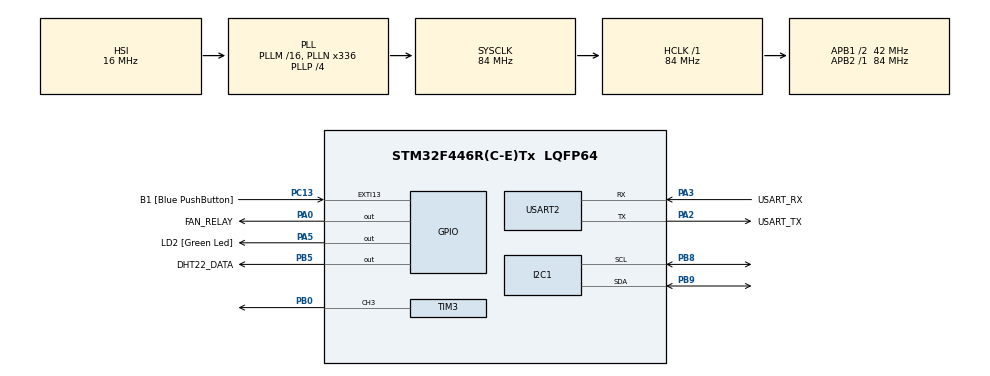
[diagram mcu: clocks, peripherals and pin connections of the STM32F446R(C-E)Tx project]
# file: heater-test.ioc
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Mcu.Family=STM32F4
Mcu.Name=STM32F446R(C-E)Tx
Mcu.Package=LQFP64
NVIC.PriorityGroup=NVIC_PRIORITYGROUP_0
PA0-WKUP.GPIO_Label=FAN_RELAY
PA0-WKUP.Signal=GPIO_Output
PA13.GPIO_Label=TMS
PA13.Mode=Serial_Wire
PA13.Signal=SYS_JTMS-SWDIO
PA14.GPIO_Label=TCK
PA14.Mode=Serial_Wire
PA14.Signal=SYS_JTCK-SWCLK
PA2.GPIO_Label=USART_TX
PA2.Mode=Asynchronous
PA2.Signal=USART2_TX
PA3.GPIO_Label=USART_RX
PA3.Mode=Asynchronous
PA3.Signal=USART2_RX
PA5.GPIO_Label=LD2 [Green Led]
PA5.Signal=GPIO_Output
PB0.Signal=S_TIM3_CH3
PB3.GPIO_Label=SWO
PB3.Signal=SYS_JTDO-SWO
PB5.GPIO_Label=DHT22_DATA
PB5.Signal=GPIO_Output
PB8.Mode=I2C
PB8.Signal=I2C1_SCL
PB9.Mode=I2C
PB9.Signal=I2C1_SDA
PC13.GPIO_Label=B1 [Blue PushButton]
PC13.GPIO_ModeDefaultEXTI=GPIO_MODE_IT_FALLING
PC13.Signal=GPXTI13
PC14-OSC32_IN.Mode=LSE-External-Oscillator
PC14-OSC32_IN.Signal=RCC_OSC32_IN
PC15-OSC32_OUT.Mode=LSE-External-Oscillator
PC15-OSC32_OUT.Signal=RCC_OSC32_OUT
PH0-OSC_IN.Mode=HSE-External-Oscillator
PH0-OSC_IN.Signal=RCC_OSC_IN
PH1-OSC_OUT.Mode=HSE-External-Oscillator
PH1-OSC_OUT.Signal=RCC_OSC_OUT
ProjectManager.HeapSize=0x200
ProjectManager.StackSize=0x400
ProjectManager.TargetToolchain=STM32CubeIDE
RCC.48MHZClocksFreq_Value=84000000
RCC.AHBFreq_Value=84000000
RCC.APB1CLKDivider=RCC_HCLK_DIV2
RCC.APB1Freq_Value=42000000
RCC.APB1TimFreq_Value=84000000
RCC.APB2Freq_Value=84000000
RCC.APB2TimFreq_Value=84000000
RCC.CortexFreq_Value=84000000
RCC.FLatency-AdvancedSettings=FLASH_LATENCY_2
RCC.HCLKFreq_Value=84000000
RCC.HSE_VALUE=8000000
RCC.HSI_VALUE=16000000
RCC.PLLN=336
RCC.PLLP=RCC_PLLP_DIV4
RCC.SYSCLKFreq_VALUE=84000000
RCC.SYSCLKSource=RCC_SYSCLKSOURCE_PLLCLK
RCC.USBFreq_Value=168000000
RCC.VCOOutputFreq_Value=336000000
SH.S_TIM3_CH3.0=TIM3_CH3,PWM Generation3 CH3
TIM3.Channel-PWM\ Generation3\ CH3=TIM_CHANNEL_3
TIM3.Period=999
TIM3.Prescaler=83
USART2.VirtualMode=VM_ASYNC
board=NUCLEO-F446RE

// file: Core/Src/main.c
/* USER CODE BEGIN Header */
/**
  ******************************************************************************
  * @file           : main.c
  * @brief          : Main program body
  ******************************************************************************
  * @attention
  *
  * Copyright (c) 2026 STMicroelectronics.
  * All rights reserved.
  *
  * This software is licensed under terms that can be found in the LICENSE file
  * in the root directory of this software component.
  * If no LICENSE file comes with this software, it is provided AS-IS.
  *
  ******************************************************************************
  */
/* USER CODE END Header */
#include "main.h"

/* USER CODE BEGIN Includes */
#include <stdio.h>
#include <string.h>
#include "dht22.h"
/* USER CODE END Includes */

I2C_HandleTypeDef hi2c1;

TIM_HandleTypeDef htim3;

UART_HandleTypeDef huart2;

void SystemClock_Config(void);
static void MX_GPIO_Init(void);
static void MX_USART2_UART_Init(void);
static void MX_I2C1_Init(void);
static void MX_TIM3_Init(void);

int main(void)
{

  /* MCU Configuration--------------------------------------------------------*/

  /* Reset of all peripherals, Initializes the Flash interface and the Systick. */
  HAL_Init();

  /* Configure the system clock */
  SystemClock_Config();

  /* Initialize all configured peripherals */
  MX_GPIO_Init();
  MX_USART2_UART_Init();
  MX_I2C1_Init();
  MX_TIM3_Init();
  /* USER CODE BEGIN 2 */
  DHT22_Init();
  HAL_Delay(3000);

  /* 초기 상태: 히터 OFF, 팬 OFF */
  uint8_t duty = 20;
  HAL_GPIO_WritePin(FAN_RELAY_GPIO_Port, FAN_RELAY_Pin, GPIO_PIN_RESET);

  char init_buf[64];
  snprintf(init_buf, sizeof(init_buf), "[S4] Start: heater duty=%d%% fan=OFF\r\n", duty);
  HAL_UART_Transmit(&huart2, (uint8_t *)init_buf, strlen(init_buf), 100);
  /* USER CODE END 2 */

  /* Infinite loop */
  /* USER CODE BEGIN WHILE */
  while (1)
  {
    /* 히터 ON + 팬 ON */
    __HAL_TIM_SET_COMPARE(&htim3, TIM_CHANNEL_3, duty * 10);
    HAL_TIM_PWM_Start(&htim3, TIM_CHANNEL_3);
    HAL_GPIO_WritePin(FAN_RELAY_GPIO_Port, FAN_RELAY_Pin, GPIO_PIN_SET);
    HAL_GPIO_WritePin(LD2_GPIO_Port, LD2_Pin, GPIO_PIN_SET);

    char buf[64];
    snprintf(buf, sizeof(buf), "[S4] Heater ON  duty=%d%%  Fan ON\r\n", duty);
    HAL_UART_Transmit(&huart2, (uint8_t *)buf, strlen(buf), 100);
    HAL_Delay(3000);

    /* 히터 OFF + 팬 OFF */
    HAL_TIM_PWM_Stop(&htim3, TIM_CHANNEL_3);
    HAL_GPIO_WritePin(FAN_RELAY_GPIO_Port, FAN_RELAY_Pin, GPIO_PIN_RESET);
    HAL_GPIO_WritePin(LD2_GPIO_Port, LD2_Pin, GPIO_PIN_RESET);

    snprintf(buf, sizeof(buf), "[S4] Heater OFF         Fan OFF\r\n");
    HAL_UART_Transmit(&huart2, (uint8_t *)buf, strlen(buf), 100);

    /* DHT22 측정 (OFF 구간에서 읽기, 센서 최소 2초 간격) */
    HAL_Delay(2000);
    DHT22_Data dht = {0};
    if (DHT22_Read(&dht) == DHT22_OK) {
        int t = (int)(dht.temperature * 10.0f);
        int h = (int)(dht.humidity * 10.0f);
        snprintf(buf, sizeof(buf), "[DHT22] %d.%dC  %d.%d%%RH\r\n",
                 t / 10, t % 10, h / 10, h % 10);
    } else {
        snprintf(buf, sizeof(buf), "[DHT22] ERROR\r\n");
    }
    HAL_UART_Transmit(&huart2, (uint8_t *)buf, strlen(buf), 100);
    HAL_Delay(1000);
    /* USER CODE END WHILE */

  }
}

void SystemClock_Config(void)
{
  RCC_OscInitTypeDef RCC_OscInitStruct = {0};
  RCC_ClkInitTypeDef RCC_ClkInitStruct = {0};

  /** Configure the main internal regulator output voltage
  */
  __HAL_RCC_PWR_CLK_ENABLE();
  __HAL_PWR_VOLTAGESCALING_CONFIG(PWR_REGULATOR_VOLTAGE_SCALE3);

  /** Initializes the RCC Oscillators according to the specified parameters
  * in the RCC_OscInitTypeDef structure.
  */
  RCC_OscInitStruct.OscillatorType = RCC_OSCILLATORTYPE_HSI;
  RCC_OscInitStruct.HSIState = RCC_HSI_ON;
  RCC_OscInitStruct.HSICalibrationValue = RCC_HSICALIBRATION_DEFAULT;
  RCC_OscInitStruct.PLL.PLLState = RCC_PLL_ON;
  RCC_OscInitStruct.PLL.PLLSource = RCC_PLLSOURCE_HSI;
  RCC_OscInitStruct.PLL.PLLM = 16;
  RCC_OscInitStruct.PLL.PLLN = 336;
  RCC_OscInitStruct.PLL.PLLP = RCC_PLLP_DIV4;
  RCC_OscInitStruct.PLL.PLLQ = 2;
  RCC_OscInitStruct.PLL.PLLR = 2;
  if (HAL_RCC_OscConfig(&RCC_OscInitStruct) != HAL_OK)
  {
    Error_Handler();
  }

  /** Initializes the CPU, AHB and APB buses clocks
  */
  RCC_ClkInitStruct.ClockType = RCC_CLOCKTYPE_HCLK|RCC_CLOCKTYPE_SYSCLK
                              |RCC_CLOCKTYPE_PCLK1|RCC_CLOCKTYPE_PCLK2;
  RCC_ClkInitStruct.SYSCLKSource = RCC_SYSCLKSOURCE_PLLCLK;
  RCC_ClkInitStruct.AHBCLKDivider = RCC_SYSCLK_DIV1;
  RCC_ClkInitStruct.APB1CLKDivider = RCC_HCLK_DIV2;
  RCC_ClkInitStruct.APB2CLKDivider = RCC_HCLK_DIV1;

  if (HAL_RCC_ClockConfig(&RCC_ClkInitStruct, FLASH_LATENCY_2) != HAL_OK)
  {
    Error_Handler();
  }
}

static void MX_I2C1_Init(void)
{

  hi2c1.Instance = I2C1;
  hi2c1.Init.ClockSpeed = 100000;
  hi2c1.Init.DutyCycle = I2C_DUTYCYCLE_2;
  hi2c1.Init.OwnAddress1 = 0;
  hi2c1.Init.AddressingMode = I2C_ADDRESSINGMODE_7BIT;
  hi2c1.Init.DualAddressMode = I2C_DUALADDRESS_DISABLE;
  hi2c1.Init.OwnAddress2 = 0;
  hi2c1.Init.GeneralCallMode = I2C_GENERALCALL_DISABLE;
  hi2c1.Init.NoStretchMode = I2C_NOSTRETCH_DISABLE;
  if (HAL_I2C_Init(&hi2c1) != HAL_OK)
  {
    Error_Handler();
  }

}

static void MX_TIM3_Init(void)
{

  TIM_MasterConfigTypeDef sMasterConfig = {0};
  TIM_OC_InitTypeDef sConfigOC = {0};

  htim3.Instance = TIM3;
  htim3.Init.Prescaler = 83;
  htim3.Init.CounterMode = TIM_COUNTERMODE_UP;
  htim3.Init.Period = 999;
  htim3.Init.ClockDivision = TIM_CLOCKDIVISION_DIV1;
  htim3.Init.AutoReloadPreload = TIM_AUTORELOAD_PRELOAD_DISABLE;
  if (HAL_TIM_PWM_Init(&htim3) != HAL_OK)
  {
    Error_Handler();
  }
  sMasterConfig.MasterOutputTrigger = TIM_TRGO_RESET;
  sMasterConfig.MasterSlaveMode = TIM_MASTERSLAVEMODE_DISABLE;
  if (HAL_TIMEx_MasterConfigSynchronization(&htim3, &sMasterConfig) != HAL_OK)
  {
    Error_Handler();
  }
  sConfigOC.OCMode = TIM_OCMODE_PWM1;
  sConfigOC.Pulse = 0;
  sConfigOC.OCPolarity = TIM_OCPOLARITY_HIGH;
  sConfigOC.OCFastMode = TIM_OCFAST_DISABLE;
  if (HAL_TIM_PWM_ConfigChannel(&htim3, &sConfigOC, TIM_CHANNEL_3) != HAL_OK)
  {
    Error_Handler();
  }
  HAL_TIM_MspPostInit(&htim3);

}

static void MX_USART2_UART_Init(void)
{

  huart2.Instance = USART2;
  huart2.Init.BaudRate = 115200;
  huart2.Init.WordLength = UART_WORDLENGTH_8B;
  huart2.Init.StopBits = UART_STOPBITS_1;
  huart2.Init.Parity = UART_PARITY_NONE;
  huart2.Init.Mode = UART_MODE_TX_RX;
  huart2.Init.HwFlowCtl = UART_HWCONTROL_NONE;
  huart2.Init.OverSampling = UART_OVERSAMPLING_16;
  if (HAL_UART_Init(&huart2) != HAL_OK)
  {
    Error_Handler();
  }

}

static void MX_GPIO_Init(void)
{
  GPIO_InitTypeDef GPIO_InitStruct = {0};

  /* GPIO Ports Clock Enable */
  __HAL_RCC_GPIOC_CLK_ENABLE();
  __HAL_RCC_GPIOH_CLK_ENABLE();
  __HAL_RCC_GPIOA_CLK_ENABLE();
  __HAL_RCC_GPIOB_CLK_ENABLE();

  /*Configure GPIO pin Output Level */
  HAL_GPIO_WritePin(GPIOA, FAN_RELAY_Pin|LD2_Pin, GPIO_PIN_RESET);

  /*Configure GPIO pin Output Level */
  HAL_GPIO_WritePin(DHT22_DATA_GPIO_Port, DHT22_DATA_Pin, GPIO_PIN_RESET);

  /*Configure GPIO pin : B1_Pin */
  GPIO_InitStruct.Pin = B1_Pin;
  GPIO_InitStruct.Mode = GPIO_MODE_IT_FALLING;
  GPIO_InitStruct.Pull = GPIO_NOPULL;
  HAL_GPIO_Init(B1_GPIO_Port, &GPIO_InitStruct);

  /*Configure GPIO pins : FAN_RELAY_Pin LD2_Pin */
  GPIO_InitStruct.Pin = FAN_RELAY_Pin|LD2_Pin;
  GPIO_InitStruct.Mode = GPIO_MODE_OUTPUT_PP;
  GPIO_InitStruct.Pull = GPIO_NOPULL;
  GPIO_InitStruct.Speed = GPIO_SPEED_FREQ_LOW;
  HAL_GPIO_Init(GPIOA, &GPIO_InitStruct);

  /*Configure GPIO pin : DHT22_DATA_Pin */
  GPIO_InitStruct.Pin = DHT22_DATA_Pin;
  GPIO_InitStruct.Mode = GPIO_MODE_OUTPUT_PP;
  GPIO_InitStruct.Pull = GPIO_NOPULL;
  GPIO_InitStruct.Speed = GPIO_SPEED_FREQ_LOW;
  HAL_GPIO_Init(DHT22_DATA_GPIO_Port, &GPIO_InitStruct);

}

void Error_Handler(void)
{
  __disable_irq();
  while (1)
  {
  }
}
